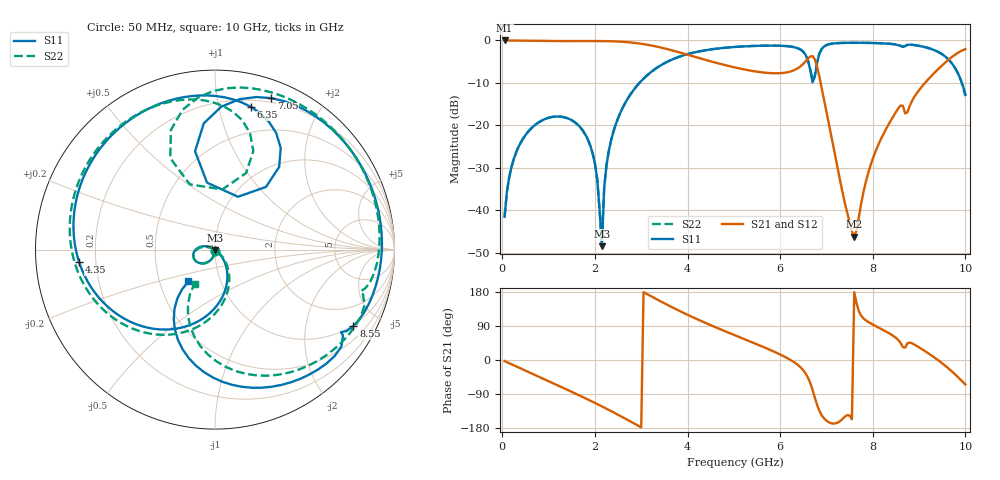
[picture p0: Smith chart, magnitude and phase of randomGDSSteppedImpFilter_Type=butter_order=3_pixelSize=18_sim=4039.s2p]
! freq	dB(S11)	phase(S11)	dB(S12)	phase(S12)
!  dB(S21)	phase(S21)	dB(S22)	phase(S22)
!S-par simulation data
#  GHz  S  DB  R 50
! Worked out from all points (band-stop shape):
!   200 points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, 50 MHz to 10 GHz, reference 50 ohm
!   highest |S21| = 0.00 dB at 50 MHz (marker M1); lowest = -46.2 dB at 7.6 GHz (marker M2)
!   |S21| within 3 dB of the highest: start of sweep to 3.886 GHz; 9.826 GHz to end of sweep
!   lowest |S11| = -48.5 dB at 2.15 GHz (marker M3), VSWR 1.01, Z = 50.2 - j0.299 ohm
!   |S11| at or under -10 dB: start of sweep to 2.962 GHz; 9.924 GHz to end of sweep
!   |S22| runs from -47.2 to -0.5 dB; largest |S21 - S12| = 0
!   S11 on the Smith chart (normalised r, x): 50 MHz: 1.00, -0.02; 4.35 GHz: 0.14, -0.05; 6.35 GHz: 0.26, +1.25; 7.05 GHz: 0.16, +1.43; 8.55 GHz: 0.95, -3.64; 10 GHz: 0.70, -0.26
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0.05  -41.55 -91.8  -0.00 -2.9  -0.00 -2.9  -41.54 -91.6
0.25  -27.86 -104.2  -0.03 -14.1  -0.03 -14.1  -27.86 -103.8
0.6  -20.99 -124.6  -0.08 -33.7  -0.08 -33.7  -21.00 -123.7
1.75  -21.41 169.9  -0.15 -98.4  -0.15 -98.4  -21.42 173.0
2  -28.96 155.8  -0.14 -113.2  -0.14 -113.2  -29.00 160.2
2.15  -48.46 -52.1  -0.15 -122.4  -0.15 -122.4  -47.24 -60.1
2.2  -34.74 -41.5  -0.16 -125.5  -0.16 -125.5  -34.59 -41.1
2.25  -29.44 -43.2  -0.17 -128.6  -0.17 -128.6  -29.36 -41.4
2.45  -19.77 -54.9  -0.23 -141.3  -0.23 -141.3  -19.74 -51.7
3.4  -6.01 -117.8  -1.61 156.0  -1.61 156.0  -6.00 -112.2
4.35  -2.38 -174.6  -4.46 99.9  -4.46 99.9  -2.37 -166.6
5.05  -1.51 148.8  -6.44 63.9  -6.44 63.9  -1.51 159.0
6.35  -1.73 75.7  -6.74 -10.0  -6.74 -10.0  -1.72 90.8
6.7  -9.87 66.5  -3.70 -79.0  -3.70 -79.0  -9.44 83.1
6.8  -5.05 101.5  -6.28 -119.3  -6.28 -119.3  -4.92 116.1
7.05  -0.91 69.6  -19.54 -164.3  -19.54 -164.3  -0.90 85.9
7.6  -0.55 29.9  -46.20 179.2  -46.20 179.2  -0.55 47.5
7.95  -0.59 8.4  -29.47 96.9  -29.47 96.9  -0.58 26.3
8.35  -0.78 -16.2  -19.61 70.7  -19.61 70.7  -0.76 1.6
8.55  -1.10 -28.9  -16.01 52.8  -16.01 52.8  -1.06 -11.4
9.35  -2.39 -82.8  -7.42 5.0  -7.42 5.0  -2.37 -67.3
10  -12.72 -129.8  -2.04 -64.6  -2.04 -64.6  -13.12 -121.0
